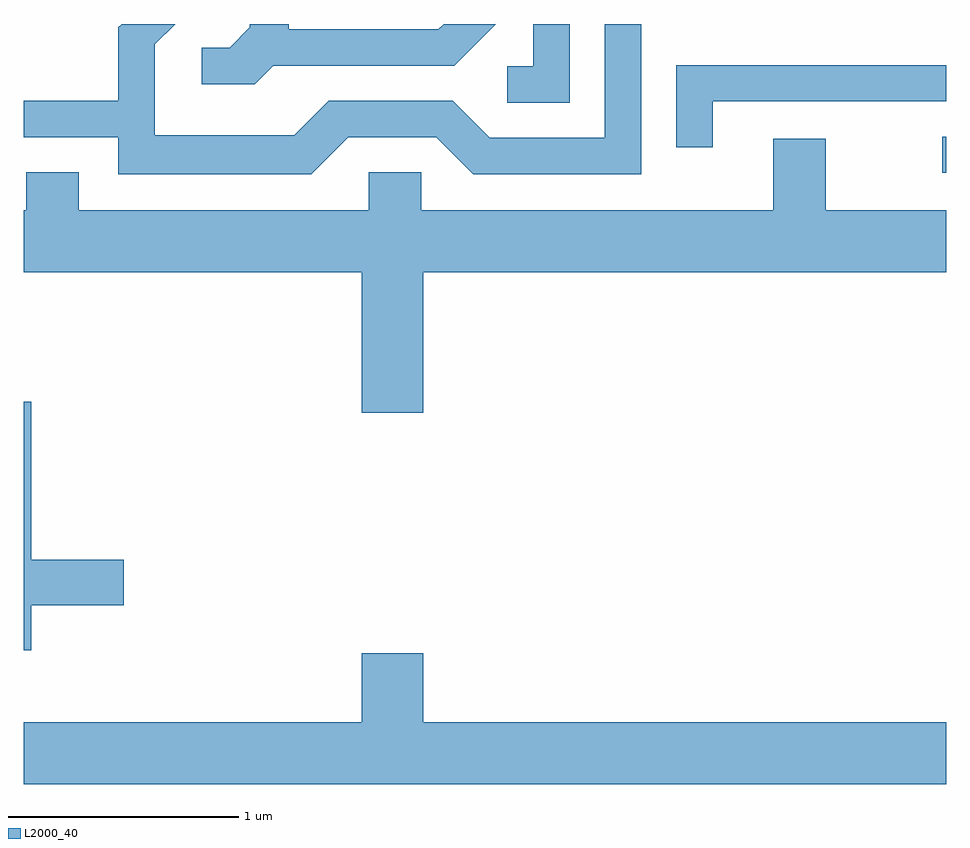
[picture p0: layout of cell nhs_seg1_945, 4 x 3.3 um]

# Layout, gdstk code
import gdstk
lib = gdstk.Library(unit=1e-6, precision=1e-09)
def R(c, l, rs):  # rectangles x0, y0, x1, y1
    for r in rs: c.add(gdstk.rectangle(r[:2], r[2:], *l))
def P(c, l, *ps):  # polygons
    for p in ps: c.add(gdstk.Polygon(p, *l))
L2000_40 = (2000, 40)

nhs_seg1_945 = lib.new_cell('nhs_seg1_945')
R(nhs_seg1_945, L2000_40, [(217.593,951.066,217.611,951.224)])
P(nhs_seg1_945, L2000_40, [(215.017,951.221),(215.399,951.221),(215.559,951.061),(216.289,951.061),(216.289,951.712),(216.131,951.712),(216.131,951.219),(215.632,951.219),(215.472,951.379),(214.934,951.379),(214.784,951.229),(214.179,951.229),(214.179,951.624),(214.267,951.712),(214.036,951.712),(214.021,951.697),(214.021,951.379),(213.611,951.379),(213.611,951.221),(214.021,951.221),(214.021,951.061),(214.857,951.061)],
  [(214.692,951.531),(215.477,951.531),(215.657,951.712),(215.432,951.712),(215.409,951.689),(214.759,951.689),(214.759,951.712),(214.591,951.712),(214.591,951.697),(214.504,951.609),(214.383,951.609),(214.383,951.451),(214.612,951.451)],
  [(215.979,951.712),(215.821,951.712),(215.821,951.529),(215.708,951.529),(215.708,951.371),(215.979,951.371)],
  [(216.599,951.376),(217.611,951.376),(217.611,951.534),(216.441,951.534),(216.441,951.178),(216.599,951.178)],
  [(215.344,950.636),(217.611,950.636),(217.611,950.904),(217.089,950.904),(217.089,951.214),(216.861,951.214),(216.861,950.904),(215.334,950.904),(215.334,951.069),(215.106,951.069),(215.106,950.904),(213.849,950.904),(213.849,951.069),(213.621,951.069),(213.621,950.904),(213.611,950.904),(213.611,950.636),(215.076,950.636),(215.076,950.026),(215.344,950.026)],
  [(213.644,949.191),(214.044,949.191),(214.044,949.389),(213.644,949.389),(213.644,950.074),(213.611,950.074),(213.611,948.996),(213.644,948.996)],
  [(217.611,948.684),(215.344,948.684),(215.344,948.984),(215.076,948.984),(215.076,948.684),(213.611,948.684),(213.611,948.416),(217.611,948.416)])

lib.write_gds('nhs_seg1_945.gds')
